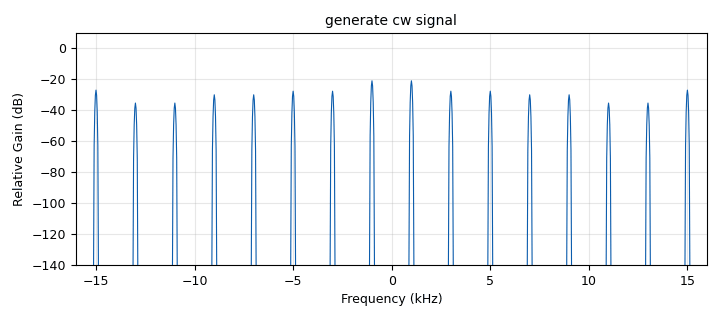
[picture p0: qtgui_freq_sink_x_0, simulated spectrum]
options:
  parameters:
    generate_options: qt_gui
    id: generate_cw
    output_language: python
    title: Not titled yet
  states: {}

blocks:
- name: samp_rate
  id: variable
  parameters:
    value: '32000'
  states: {}
- name: variable_qtgui_entry_0
  id: variable_qtgui_entry
  parameters:
    label: generate cw test
    type: int
    value: '0'
  states: {}
- name: analog_sig_source_x_0
  id: analog_sig_source_x
  parameters:
    amp: '1'
    freq: '1000'
    offset: '0'
    phase: '0'
    samp_rate: samp_rate
    type: float
    waveform: analog.GR_COS_WAVE
  states: {}
- name: audio_sink_0
  id: audio_sink
  parameters:
    device_name: pulse
    samp_rate: samp_rate
  states: {}
- name: blocks_multiply_xx_0
  id: blocks_multiply_xx
  parameters:
    type: float
  states: {}
- name: blocks_vector_source_x_0
  id: blocks_vector_source_x
  parameters:
    repeat: 'True'
    type: float
    vector: (0, 0, 0, 1, 0, 1, 1, 1)
  states: {}
- name: epy_block_0
  id: epy_block
  parameters:
    _source_code: |
      """
      Embedded Python Blocks:

      Each time this file is saved, GRC will instantiate the first class it finds
      to get ports and parameters of your block. The arguments to __init__  will
      be the parameters. All of them are required to have default values!
      """

      import numpy as np
      from gnuradio import gr


      class blk(gr.sync_block):  # other base classes are basic_block, decim_block, interp_block
          """Embedded Python Block example - a simple multiply const"""

          def __init__(self, example_param=1.0):  # only default arguments here
              """arguments to this function show up as parameters in GRC"""
              gr.sync_block.__init__(
                  self,
                  name='Embedded Python Block',   # will show up in GRC
                  in_sig=[np.complex64],
                  out_sig=[np.complex64]
              )
              # if an attribute with the same name as a parameter is found,
              # a callback is registered (properties work, too).
              self.example_param = example_param

          def work(self, input_items, output_items):
              """example: multiply with constant"""
              output_items[0][:] = input_items[0] * self.example_param
              return len(output_items[0])
    example_param: ''
  states: {}
- name: qtgui_edit_box_msg_0
  id: qtgui_edit_box_msg
  parameters:
    type: string
  states: {}
- name: qtgui_freq_sink_x_0
  id: qtgui_freq_sink_x
  parameters:
    bw: samp_rate
    fc: '0'
    fftsize: '1024'
    name: '"generate cw signal"'
    type: float
    wintype: firdes.WIN_BLACKMAN_hARRIS
  states: {}

connections:
- [analog_sig_source_x_0, '0', blocks_multiply_xx_0, '1']
- [blocks_multiply_xx_0, '0', audio_sink_0, '0']
- [blocks_multiply_xx_0, '0', qtgui_freq_sink_x_0, '0']
- [blocks_vector_source_x_0, '0', blocks_multiply_xx_0, '0']
- [qtgui_edit_box_msg_0, msg, epy_block_0, '0']

metadata:
  file_format: 1
